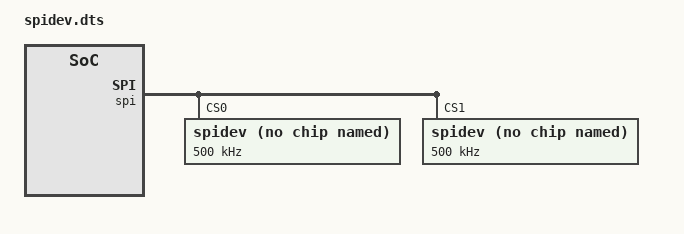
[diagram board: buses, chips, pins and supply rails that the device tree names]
/dts-v1/;
/include/ "spi.dtsi"

&spi {
	spidev@0{
		compatible = "spidev";
		reg = <0>;	/* CE0 */
		#address-cells = <1>;
		#size-cells = <0>;
		spi-max-frequency = <500000>;
		// Mode 0 (CPOL = 0, CPHA = 0)
		status = "okay";
	};

	spidev@1{
		compatible = "spidev";
		reg = <1>;	/* CE1 */
		#address-cells = <1>;
		#size-cells = <0>;
		spi-max-frequency = <500000>;
		// Mode 0 (CPOL = 0, CPHA = 0)
		status = "okay";
	};
};
